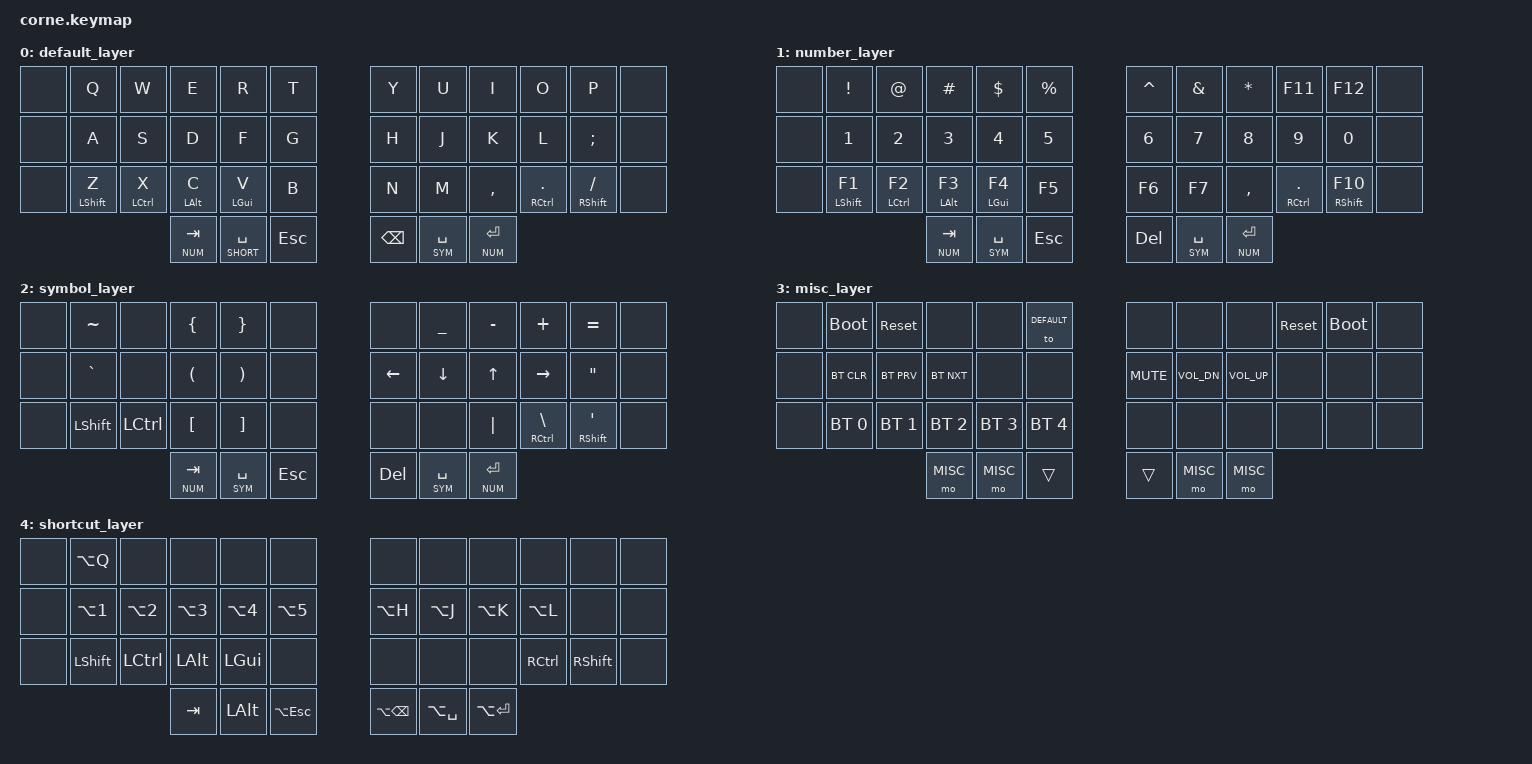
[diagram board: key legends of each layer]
/*
 * Copyright (c) 2020 The ZMK Contributors
 *
 * SPDX-License-Identifier: MIT
 */

#include <behaviors.dtsi>
#include <dt-bindings/zmk/keys.h>
#include <dt-bindings/zmk/bt.h>

&mt {
    tapping-term-ms = <200>;
    flavor = "hold-preferred";
 };
&sk {
     release-after-ms = <2000>;
     quick-release;
 };

#define DEFAULT 0
#define NUM 1
#define SYM 2
#define MISC 3
#define SHORT 4

/ {
    behaviors {
        hm: homerow_mods {
            compatible = "zmk,behavior-hold-tap";
            label = "HOMEROW_MODS";
            #binding-cells = <2>;
            tapping-term-ms = <150>;
            quick_tap_ms = <0>;
            flavor = "tap-preferred";
            bindings = <&kp>, <&kp>;
        };
    };

    conditional_layers {
        compatible = "zmk,conditional-layers";
        tri_layer {
            if-layers = <NUM SYM>;
            then-layer = <MISC>;
        };
    };

    keymap {
        compatible = "zmk,keymap";
                
        default_layer {
            bindings = <
                    &none    &kp Q           &kp W           &kp E           &kp R           &kp T                       &kp Y           &kp U           &kp I           &kp O           &kp P              &none
                    &none    &kp A           &kp S           &kp D           &kp F           &kp G                       &kp H           &kp J           &kp K           &kp L           &kp SEMI           &none
                    &none    &hm LSHFT Z     &hm LCTRL X     &hm LALT C      &hm LGUI V      &kp B                       &kp N           &kp M           &kp COMMA       &hm RCTRL DOT   &hm RSHFT SLASH    &none
                                                             &lt NUM TAB     &lt SHORT SPACE &kp ESC                     &kp BSPC        &lt SYM SPACE   &lt NUM ENTER
            >;
        };
        number_layer {
            bindings = <
                    &none    &kp EXCL        &kp AT          &kp HASH        &kp DLLR        &kp PRCNT                   &kp CARET       &kp AMPS        &kp STAR        &kp F11         &kp F12            &none
                    &none    &kp N1          &kp N2          &kp N3          &kp N4          &kp N5                      &kp N6          &kp N7          &kp N8          &kp N9          &kp N0             &none
                    &none    &hm LSHFT F1    &hm LCTRL F2    &hm LALT F3     &hm LGUI F4     &kp F5                      &kp F6          &kp F7          &kp COMMA       &hm RCTRL DOT   &hm RSHFT F10      &none
                                                             &lt NUM TAB     &lt SYM SPACE   &kp ESC                     &kp DEL         &lt SYM SPACE   &lt NUM ENTER
            >;
        };
        symbol_layer {
            bindings = <
                    &none    &kp TILDE       &none           &kp LBRC        &kp RBRC        &none                       &none           &kp UNDER       &kp MINUS       &kp PLUS        &kp EQUAL          &none
                    &none    &kp GRAVE       &none           &kp LPAR        &kp RPAR        &none                       &kp LEFT        &kp DOWN        &kp UP          &kp RIGHT       &kp DQT            &none
                    &none    &kp LSHFT       &kp LCTRL       &kp LBKT        &kp RBKT        &none                       &none           &none           &kp PIPE        &hm RCTRL BSLH  &hm RSHFT SQT      &none
                                                             &lt NUM TAB     &lt SYM SPACE   &kp ESC                     &kp DEL         &lt SYM SPACE   &lt NUM ENTER
            >;
        };
        misc_layer {
            bindings = <
                    &none    &bootloader     &sys_reset      &none           &none           &to DEFAULT                 &none           &none           &none           &sys_reset      &bootloader        &none
                    &none    &bt BT_CLR      &bt BT_PRV      &bt BT_NXT      &none           &none                       &kp C_MUTE      &kp C_VOL_DN    &kp C_VOL_UP    &none           &none              &none
                    &none    &bt BT_SEL 0    &bt BT_SEL 1    &bt BT_SEL 2    &bt BT_SEL 3    &bt BT_SEL 4                &none           &none           &none           &none           &none              &none
                                                             &mo MISC        &mo MISC        &trans                      &trans          &mo MISC        &mo MISC
            >;
        };
        shortcut_layer {
            bindings = <
                    &none    &kp LA(Q)       &none           &none           &none           &none                       &none           &none           &none           &none           &none              &none
                    &none    &kp LA(N1)      &kp LA(N2)      &kp LA(N3)      &kp LA(N4)      &kp LA(N5)                  &kp LA(H)       &kp LA(J)       &kp LA(K)       &kp LA(L)       &none              &none
                    &none    &kp LSHFT       &kp LCTRL       &kp LALT        &kp LGUI        &none                       &none           &none           &none           &kp RCTRL       &kp RSHFT          &none
                                                             &kp TAB         &kp LALT        &kp LA(ESC)                 &kp LA(BSPC)    &kp LA(SPACE)   &kp LA(ENTER)
            >;
        };
	};
};
